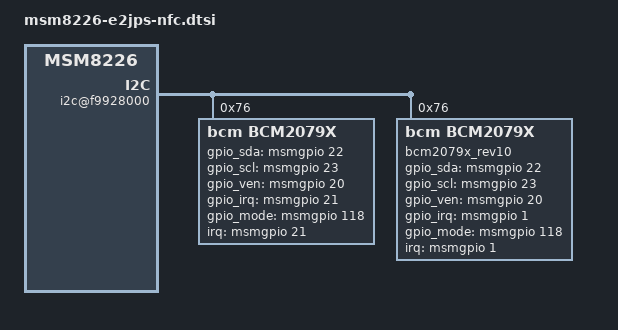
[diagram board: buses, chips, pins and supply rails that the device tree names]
/* Copyright (c) 2012, Code Aurora Forum. All rights reserved.
 *
 * This program is free software; you can redistribute it and/or modify
 * it under the terms of the GNU General Public License version 2 and
 * only version 2 as published by the Free Software Foundation.
 *
 * This program is distributed in the hope that it will be useful,
 * but WITHOUT ANY WARRANTY; without even the implied warranty of
 * MERCHANTABILITY or FITNESS FOR A PARTICULAR PURPOSE.  See the
 * GNU General Public License for more details.
 */

/* LGE_CHANGE, [NFC][sungwook.ahn@lge.com], NFC Bring up */
&soc {
    i2c@f9928000 {
        bcm2079x@76 {
            compatible = "bcm,bcm2079x";
            status = "ok";
            revision = "rev_a...rev_e";
            reg = <0x76>;
            interrupt-parent = <&msmgpio>;
            interrupts = <21 0x2>;
            bcm,gpio_sda = <&msmgpio 22 0x00>;
            bcm,gpio_scl = <&msmgpio 23 0x00>;
            bcm,gpio_ven = <&msmgpio 20 0x00>;
            bcm,gpio_irq = <&msmgpio 21 0x00>;
            bcm,gpio_mode = <&msmgpio 118 0x00>;
            bcm,i2c-pull-up = <1>;
        };

        bcm2079x_rev10@76 {
            compatible = "bcm,bcm2079x";
            status = "ok";
            revision = "rev_10...";
            reg = <0x76>;
            interrupt-parent = <&msmgpio>;
            interrupts = <1 0x2>;
            bcm,gpio_sda = <&msmgpio 22 0x00>;
            bcm,gpio_scl = <&msmgpio 23 0x00>;
            bcm,gpio_ven = <&msmgpio 20 0x00>;
            bcm,gpio_irq = <&msmgpio 1 0x00>;
            bcm,gpio_mode = <&msmgpio 118 0x00>;
            bcm,i2c-pull-up = <1>;
        };
    };
};
